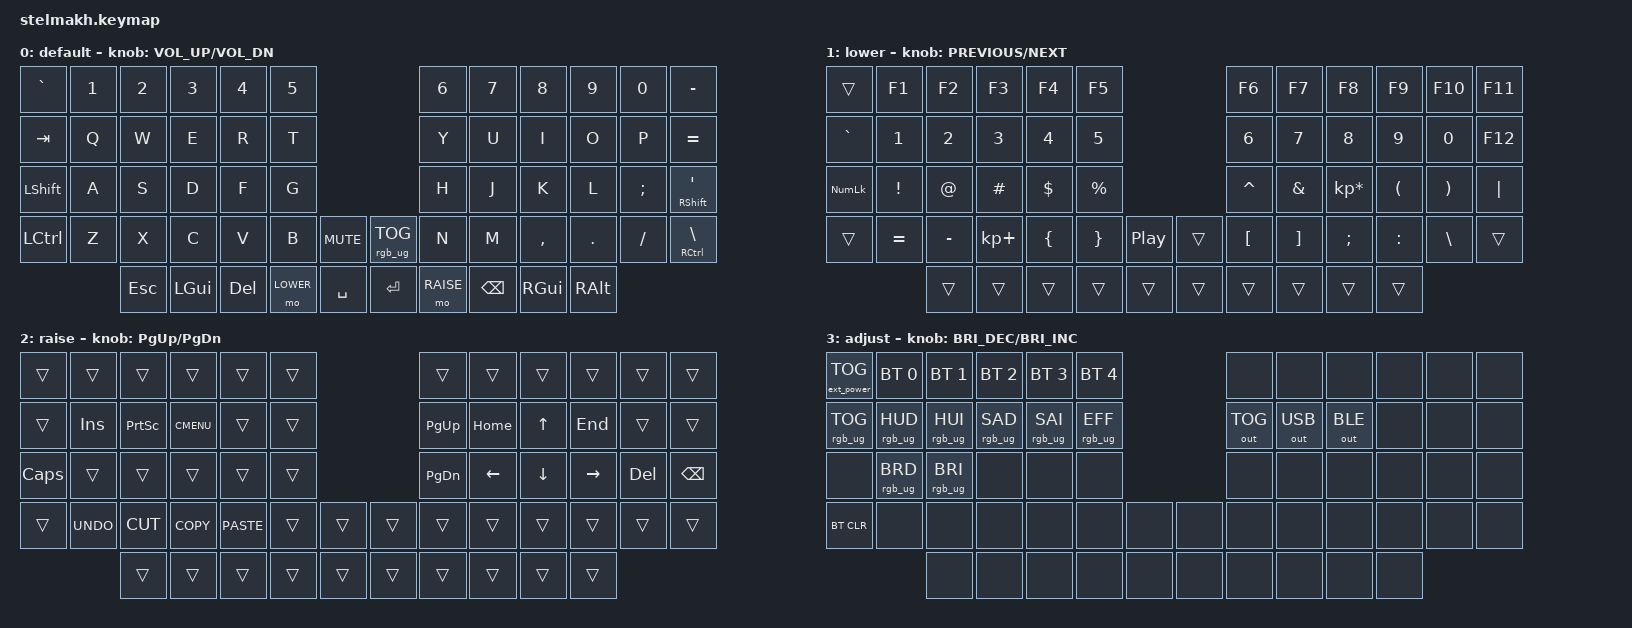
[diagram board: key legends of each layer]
/*
 * Copyright (c) 2020 The ZMK Contributors
 *
 * SPDX-License-Identifier: MIT
 */

#include <behaviors.dtsi>
#include <dt-bindings/zmk/bt.h>
#include <dt-bindings/zmk/ext_power.h>
#include <dt-bindings/zmk/keys.h>
#include <dt-bindings/zmk/mouse.h>
#include <dt-bindings/zmk/outputs.h>
#include <dt-bindings/zmk/rgb.h>

#define ZMK_MOUSE_DEFAULT_MOVE_VAL 1200  // 600
#define ZMK_MOUSE_DEFAULT_SCRL_VAL 20    // 10

#define BASE 0
#define LOWER 1
#define RAISE 2
#define ADJUST 3

&mt {
    tapping-term-ms = <600>;
    quick-tap-ms = <(-1)>;
    require-prior-idle-ms = <(-1)>;
};

/ {
    behaviors {
        ws_left: workspace_left {
            compatible = "zmk,behavior-macro";
            #binding-cells = <0>;
            bindings = <&kp LC(LEFT)>;
            // <&kp LG(LEFT)>;  // Ctrl+Alt+Left (Linux)
            // <&kp LC(LEFT)>;  // Cmd+Left (macOS)
        };
        
        ws_right: workspace_right {
            compatible = "zmk,behavior-macro";
            #binding-cells = <0>;
            bindings = <&kp LC(RIGHT)>;  // Cmd+Right (macOS)
        };
    };
    
    mouse_buttons {
        compatible = "zmk,mouse-button-behaviors";
        button-6 = <&ws_left>;  
        button-7 = <&ws_right>; 
    };

    // Activate ADJUST layer by pressing raise and lower

    conditional_layers {
        compatible = "zmk,conditional-layers";

        adjust_layer {
            if-layers = <LOWER RAISE>;
            then-layer = <ADJUST>;
        };
    };

    combos {
        compatible = "zmk,combos";

        EscKey {
            bindings = <&kp ESC>;
            key-positions = <0 12>;
            timeout-ms = <100>;
            layers = <0>;
        };

        TildaSign {
            bindings = <&kp TILDE>;
            key-positions = <23 35>;
            layers = <0>;
            timeout-ms = <25>;
        };

        GraveSign {
            bindings = <&kp GRAVE>;
            key-positions = <35 49>;
            layers = <0>;
            timeout-ms = <25>;
        };

        PlusSign {
            bindings = <&kp PLUS>;
            key-positions = <2 3>;
            layers = <0>;
            timeout-ms = <25>;
        };

        MinusSign {
            bindings = <&kp MINUS>;
            key-positions = <3 4>;
            timeout-ms = <25>;
            layers = <0>;
        };

        ParaLeft {
            bindings = <&kp LPAR>;
            key-positions = <17 16>;
            timeout-ms = <25>;
            layers = <0>;
        };

        CommaSign {
            bindings = <&kp COMMA>;
            key-positions = <4 5>;
            timeout-ms = <25>;
            layers = <0>;
        };

        BracketLeft {
            bindings = <&kp LBKT>;
            key-positions = <29 28>;
            timeout-ms = <25>;
            layers = <0>;
        };

        BraceLeft {
            bindings = <&kp LBRC>;
            key-positions = <41 40>;
            timeout-ms = <25>;
            layers = <0>;
        };

        ParaRight {
            bindings = <&kp RPAR>;
            key-positions = <18 19>;
            timeout-ms = <25>;
            layers = <0>;
        };

        BracketRight {
            bindings = <&kp RIGHT_BRACKET>;
            key-positions = <30 31>;
            timeout-ms = <25>;
            layers = <0>;
        };

        BraceRight {
            bindings = <&kp RIGHT_BRACE>;
            key-positions = <44 45>;
            layers = <0>;
            timeout-ms = <25>;
        };

        UnderscoreSign {
            bindings = <&kp UNDER>;
            key-positions = <7 8>;
            timeout-ms = <25>;
            layers = <0>;
        };

        DotSign {
            bindings = <&kp DOT>;
            key-positions = <6 7>;
            timeout-ms = <25>;
            layers = <0>;
        };

        PipeSign {
            bindings = <&kp PIPE>;
            key-positions = <9 8>;
            timeout-ms = <25>;
            layers = <0>;
        };

        CAPSLO {
            bindings = <&kp CLCK>;
            key-positions = <12 24>;
            layers = <0>;
            timeout-ms = <100>;
        };
    };

    keymap {
        compatible = "zmk,keymap";

        default_layer {
            label = "default";
            bindings = <
&kp GRAVE       &kp N1  &kp N2      &kp N3        &kp N4      &kp N5                                    &kp N6     &kp N7         &kp N8     &kp N9         &kp N0    &kp MINUS
&kp TAB         &kp Q   &kp W       &kp E         &kp R       &kp T                                     &kp Y      &kp U          &kp I      &kp O          &kp P     &kp EQUAL
&kp LEFT_SHIFT  &kp A   &kp S       &kp D         &kp F       &kp G                                     &kp H      &kp J          &kp K      &kp L          &kp SEMI  &mt RIGHT_SHIFT SQT
&kp LCTRL       &kp Z   &kp X       &kp C         &kp V       &kp B      &kp C_MUTE    &rgb_ug RGB_TOG  &kp N      &kp M          &kp COMMA  &kp DOT        &kp FSLH  &mt RCTRL BACKSLASH
                        &kp ESCAPE  &kp LEFT_GUI  &kp DELETE  &mo LOWER  &kp SPACE     &kp ENTER        &mo RAISE  &kp BACKSPACE  &kp RGUI   &kp RIGHT_ALT
            >;
            sensor-bindings = <&inc_dec_kp C_VOL_UP C_VOL_DN>;
        };

        lower_layer {
            label = "lower";
            bindings = <
&trans          &kp F1     &kp F2     &kp F3       &kp F4    &kp F5                                 &kp F6     &kp F7    &kp F8           &kp F9     &kp F10   &kp F11
&kp GRAVE       &kp N1     &kp N2     &kp N3       &kp N4    &kp N5                                 &kp N6     &kp N7    &kp N8           &kp N9     &kp N0    &kp F12
&kp KP_NUMLOCK  &kp EXCL   &kp AT     &kp HASH     &kp DLLR  &kp PRCNT                              &kp CARET  &kp AMPS  &kp KP_MULTIPLY  &kp LPAR   &kp RPAR  &kp PIPE
&trans          &kp EQUAL  &kp MINUS  &kp KP_PLUS  &kp LBRC  &kp RBRC   &kp C_PLAY_PAUSE    &trans  &kp LBKT   &kp RBKT  &kp SEMI         &kp COLON  &kp BSLH  &trans
                           &trans     &trans       &trans    &trans     &trans              &trans  &trans     &trans    &trans           &trans
            >;
            sensor-bindings = <&inc_dec_kp C_PREVIOUS C_NEXT>;
        };

        raise_layer {
            label = "raise";
            bindings = <
&trans        &trans      &trans     &trans       &trans       &trans                    &trans     &trans    &trans    &trans     &trans   &trans
&trans        &kp INS     &kp PSCRN  &kp K_CMENU  &trans       &trans                    &kp PG_UP  &kp HOME  &kp UP    &kp END    &trans   &trans
&kp CAPSLOCK  &trans      &trans     &trans       &trans       &trans                    &kp PG_DN  &kp LEFT  &kp DOWN  &kp RIGHT  &kp DEL  &kp BSPC
&trans        &kp K_UNDO  &kp K_CUT  &kp K_COPY   &kp K_PASTE  &trans  &trans    &trans  &trans     &trans    &trans    &trans     &trans   &trans
                          &trans     &trans       &trans       &trans  &trans    &trans  &trans     &trans    &trans    &trans
            >;
            sensor-bindings = <&inc_dec_kp PG_UP PG_DN>;
        };

        adjust_layer {
            label = "adjust";
            bindings = <
&ext_power EP_TOG  &bt BT_SEL 0     &bt BT_SEL 1     &bt BT_SEL 2     &bt BT_SEL 3     &bt BT_SEL 4                               &none         &none         &none         &none  &none  &none
&rgb_ug RGB_TOG    &rgb_ug RGB_HUD  &rgb_ug RGB_HUI  &rgb_ug RGB_SAD  &rgb_ug RGB_SAI  &rgb_ug RGB_EFF                            &out OUT_TOG  &out OUT_USB  &out OUT_BLE  &none  &none  &none
&none              &rgb_ug RGB_BRD  &rgb_ug RGB_BRI  &none            &none            &none                                      &none         &none         &none         &none  &none  &none
&bt BT_CLR         &none            &none            &none            &none            &none            &none              &none  &none         &none         &none         &none  &none  &none
                                    &none            &none            &none            &none            &none              &none  &none         &none         &none         &none
            >;
            sensor-bindings = <&inc_dec_kp C_BRIGHTNESS_DEC C_BRIGHTNESS_INC>;
        };
    };
};
